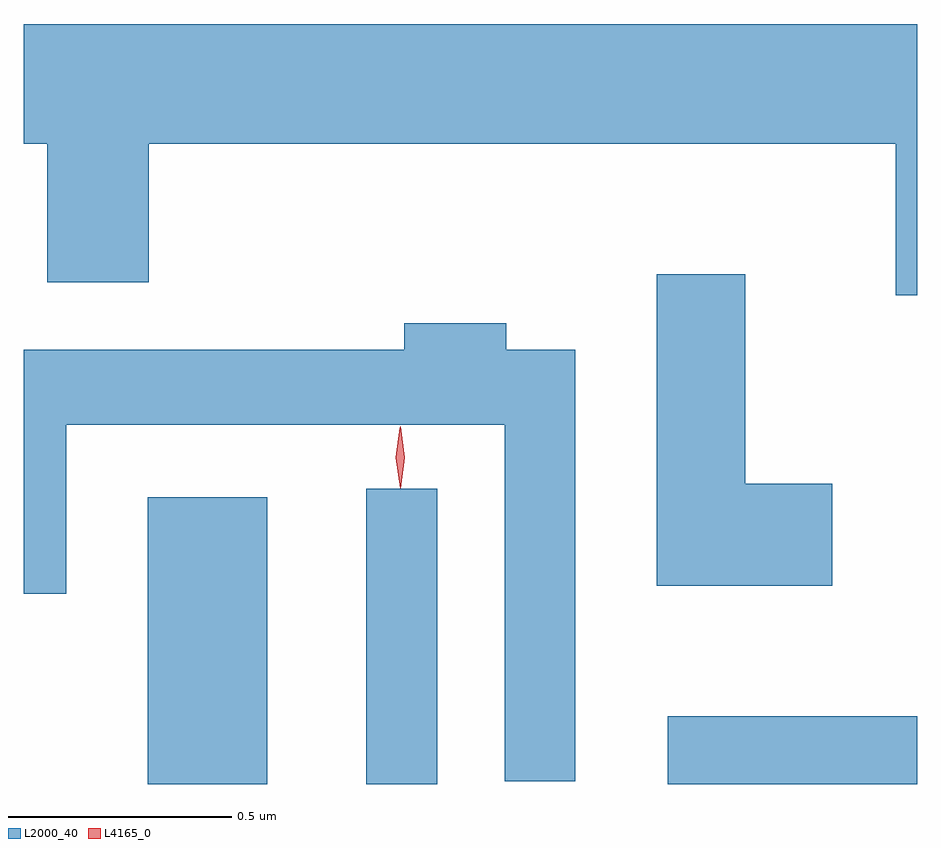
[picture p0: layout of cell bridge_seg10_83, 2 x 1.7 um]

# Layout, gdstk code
import gdstk
lib = gdstk.Library(unit=1e-6, precision=1e-09)
def R(c, l, rs):  # rectangles x0, y0, x1, y1
    for r in rs: c.add(gdstk.rectangle(r[:2], r[2:], *l))
def P(c, l, *ps):  # polygons
    for p in ps: c.add(gdstk.Polygon(p, *l))
L2000_40 = (2000, 40)
L4165_0 = (4165, 0)

bridge_seg10_83 = lib.new_cell('bridge_seg10_83')
R(bridge_seg10_83, L2000_40, [(1587.226,2216.822,1587.494,2217.464), (1587.716,2216.822,1587.874,2217.483), (1588.391,2216.822,1588.949,2216.974)])
P(bridge_seg10_83, L2000_40, [(1588.949,2218.524),(1586.949,2218.524),(1586.949,2218.256),(1587.001,2218.256),(1587.001,2217.946),(1587.229,2217.946),(1587.229,2218.256),(1588.901,2218.256),(1588.901,2217.916),(1588.949,2217.916)],
  [(1588.759,2217.494),(1588.564,2217.494),(1588.564,2217.964),(1588.366,2217.964),(1588.366,2217.266),(1588.759,2217.266)],
  [(1588.184,2217.794),(1588.029,2217.794),(1588.029,2217.854),(1587.801,2217.854),(1587.801,2217.794),(1586.949,2217.794),(1586.949,2217.248),(1587.044,2217.248),(1587.044,2217.626),(1588.026,2217.626),(1588.026,2216.828),(1588.184,2216.828)])
P(bridge_seg10_83, L4165_0, [(1587.792,2217.484),(1587.792,2217.484),(1587.782,2217.553),(1587.792,2217.622),(1587.792,2217.623),(1587.793,2217.622),(1587.802,2217.553),(1587.793,2217.484)],
  [(1587.792,2217.487),(1587.792,2217.488),(1587.782,2217.554),(1587.791,2217.62),(1587.792,2217.62),(1587.792,2217.62),(1587.802,2217.554),(1587.793,2217.488)])

lib.write_gds('bridge_seg10_83.gds')
